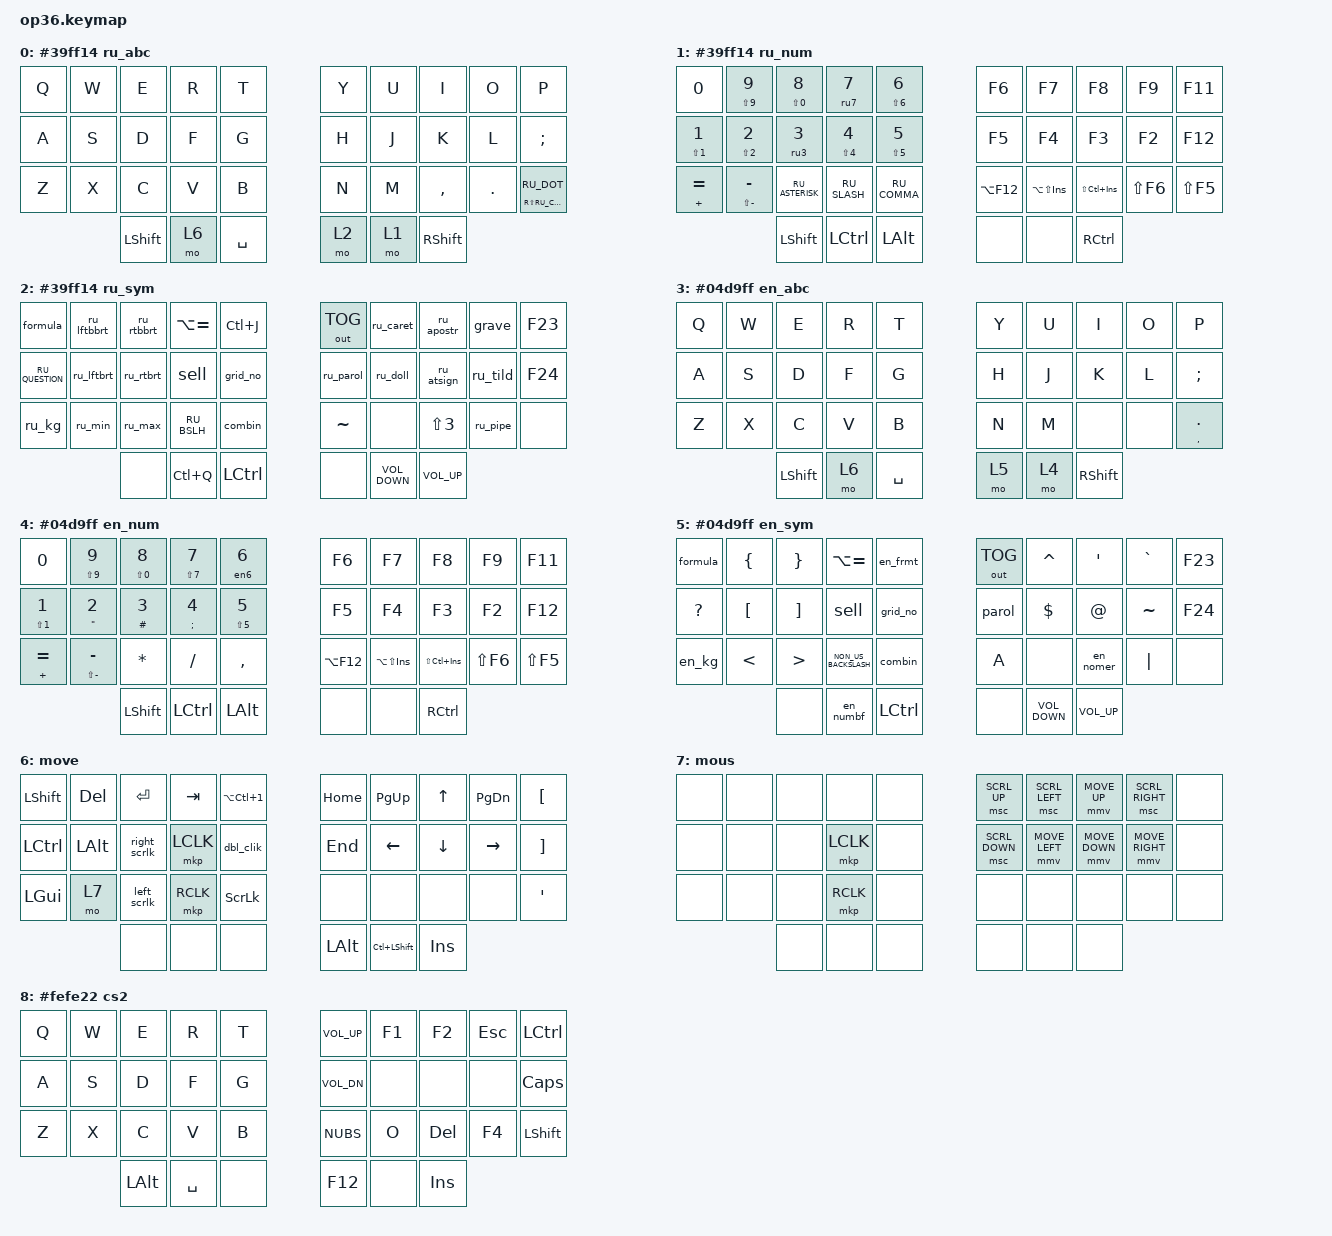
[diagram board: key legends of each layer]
#include "keys_ru.h"
#include <behaviors.dtsi>
#include <dt-bindings/zmk/keys.h>
#include <dt-bindings/zmk/outputs.h>
#include <dt-bindings/zmk/pointing.h>

/ {
    combos {
        compatible = "zmk,combos";

        ruen {
            bindings = <&ru_en>;
            key-positions = <31 34>;
            layers = <0>;
        };

        enru {
            bindings = <&en_ru>;
            key-positions = <34 31>;
            layers = <3>;
        };

        esc {
            bindings = <&kp ESC>;
            key-positions = <12 13>;
            layers = <0 3>;
        };

        alt {
            bindings = <&kp LALT>;
            key-positions = <22 23>;
            layers = <0 3>;
        };

        ctr {
            bindings = <&kp LCTRL>;
            key-positions = <11 13>;
            layers = <0 3>;
        };

        bcs {
            bindings = <&kp BSPC>;
            key-positions = <16 17>;
            layers = <0 3>;
        };

        copy {
            bindings = <&kp LC(C)>;
            key-positions = <2 3>;
            layers = <0 3>;
        };

        paste {
            bindings = <&kp LC(V)>;
            key-positions = <1 3>;
            layers = <0 3>;
        };

        cut {
            bindings = <&kp LC(X)>;
            key-positions = <0 3>;
            layers = <0 3>;
        };

        f1 {
            bindings = <&kp F1>;
            key-positions = <18 19>;
            layers = <1 4>;
        };

        val_fmt {
            bindings = <&val_frm>;
            key-positions = <3 4>;
            layers = <0 3>;
        };

        win {
            bindings = <&kp LEFT_WIN>;
            key-positions = <25 26>;
            layers = <0 3>;
        };

        to_cs {
            bindings = <&tog 8>;
            key-positions = <5 6>;
            layers = <0 3 8>;
        };

        esc_right {
            bindings = <&kp RCTRL>;
            key-positions = <16 18>;
            layers = <0 3>;
        };

        capsl {
            bindings = <&kp CLCK>;
            key-positions = <30 35>;
            layers = <0 3>;
        };
    };

    macros {
        ru_en: ru_en {
            compatible = "zmk,behavior-macro";
            #binding-cells = <0>;
            bindings = <&kp LS(LALT) &to 3>;
            label = "RU_EN";
        };

        en_ru: en_ru {
            compatible = "zmk,behavior-macro";
            #binding-cells = <0>;
            bindings = <&kp LS(LALT) &to 0>;
            label = "EN_RU";
        };

        ru7: ru7 {
            compatible = "zmk,behavior-macro";
            #binding-cells = <0>;
            bindings = <&kp LS(LALT) &kp LS(N7) &kp LS(LALT)>;
            label = "RU7";
        };

        ru3: ru3 {
            compatible = "zmk,behavior-macro";
            #binding-cells = <0>;
            bindings = <&kp LS(LALT) &kp LS(N3) &kp LS(LALT)>;
            label = "RU3";
        };

        en6: en6 {
            compatible = "zmk,behavior-macro";
            #binding-cells = <0>;
            bindings = <&kp LS(LALT) &kp LS(NUMBER_6) &kp LS(LALT)>;
            label = "EN6";
        };

        format: format {
            compatible = "zmk,behavior-macro";
            #binding-cells = <0>;
            bindings = <&kp LALT &kp Z &kp V &kp A &kp A &kp A &kp ENTER>;
            label = "FORMAT";
        };

        value: value {
            compatible = "zmk,behavior-macro";
            #binding-cells = <0>;
            bindings = <&kp LALT &kp Z &kp V &kp P &kp P &kp ENTER>;
            label = "VALUE";
        };

        formula: formula {
            compatible = "zmk,behavior-macro";
            #binding-cells = <0>;
            bindings = <&kp LALT &kp Z &kp V &kp A &kp A &kp ENTER>;
            label = "FORMULA";
        };

        dbl_clik: dbl_clik {
            compatible = "zmk,behavior-macro";
            #binding-cells = <0>;
            bindings = <&mkp LCLK &mkp LCLK>;
            label = "DBL_CLIK";
        };

        comb: comb {
            compatible = "zmk,behavior-macro";
            #binding-cells = <0>;
            bindings = <&kp LALT &kp Z &kp O &kp COMMA>;
            label = "COMB";
        };

        dis_cmb: dis_cmb {
            compatible = "zmk,behavior-macro";
            #binding-cells = <0>;
            bindings = <&kp LALT &kp Z &kp O &kp J>;
            label = "DIS_CMB";
        };

        grid: grid {
            compatible = "zmk,behavior-macro";
            #binding-cells = <0>;
            bindings = <&kp LALT &kp Z &kp U &kp U &kp C>;
            label = "GRID";
        };

        no_grid: no_grid {
            compatible = "zmk,behavior-macro";
            #binding-cells = <0>;
            bindings = <&kp LALT &kp Z &kp U &kp U &kp F>;
            label = "NO_GRID";
        };

        en_frmt: en_frmt {
            compatible = "zmk,behavior-macro";
            #binding-cells = <0>;
            bindings = <&kp LS(LALT) &kp LC(J) &kp LS(LALT)>;
            label = "EN_FRMT";
        };

        ru_min: ru_min {
            compatible = "zmk,behavior-macro";
            #binding-cells = <0>;
            bindings = <&kp LS(LALT) &kp LESS_THAN &kp LS(LALT)>;
            label = "RU_MIN";
        };

        ru_max: ru_max {
            compatible = "zmk,behavior-macro";
            #binding-cells = <0>;
            bindings = <&kp LS(LALT) &kp GREATER_THAN &kp LS(LALT)>;
            label = "RU_MAX";
        };

        ru_lftbrt: ru_lftbrt {
            compatible = "zmk,behavior-macro";
            #binding-cells = <0>;
            bindings = <&kp LS(LALT) &kp LEFT_BRACKET &kp LS(LALT)>;
            label = "RU_LFTBRT";
        };

        ru_rtbrt: ru_rtbrt {
            compatible = "zmk,behavior-macro";
            #binding-cells = <0>;
            bindings = <&kp LS(LALT) &kp RIGHT_BRACKET &kp LS(LALT)>;
            label = "RU_RTBRT";
        };

        ru_lftbbrt: ru_lftbbrt {
            compatible = "zmk,behavior-macro";
            #binding-cells = <0>;
            bindings = <&kp LS(LALT) &kp LEFT_BRACE &kp LS(LALT)>;
            label = "RU_LFTBBRT";
        };

        ru_rtbbrt: ru_rtbbrt {
            compatible = "zmk,behavior-macro";
            #binding-cells = <0>;
            bindings = <&kp LS(LALT) &kp RIGHT_BRACE &kp LS(LALT)>;
            label = "RU_RTBBRT";
        };

        ru_caret: ru_caret {
            compatible = "zmk,behavior-macro";
            #binding-cells = <0>;
            bindings = <&kp LS(LALT) &kp LCTRL &kp LS(LALT)>;
            label = "RU_CARET";
        };

        ru_apostr: ru_apostr {
            compatible = "zmk,behavior-macro";
            #binding-cells = <0>;
            bindings = <&kp LS(LALT) &kp SQT &kp LS(LALT)>;
            label = "RU_APOSTR";
        };

        grave: grave {
            compatible = "zmk,behavior-macro";
            #binding-cells = <0>;
            bindings = <&kp LS(LALT) &kp GRAVE &kp LS(LALT)>;
            label = "GRAVE";
        };

        ru_doll: ru_doll {
            compatible = "zmk,behavior-macro";
            #binding-cells = <0>;
            bindings = <&kp LS(LALT) &kp DOLLAR &kp LS(LALT)>;
            label = "RU_DOLL";
        };

        ru_atsign: ru_atsign {
            compatible = "zmk,behavior-macro";
            #binding-cells = <0>;
            bindings = <&kp LS(LALT) &kp AT_SIGN &kp LS(LALT)>;
            label = "RU_ATSIGN";
        };

        ru_tild: ru_tild {
            compatible = "zmk,behavior-macro";
            #binding-cells = <0>;
            bindings = <&kp LS(LALT) &kp TILDE &kp LS(LALT)>;
            label = "RU_TILD";
        };

        ru_pipe: ru_pipe {
            compatible = "zmk,behavior-macro";
            #binding-cells = <0>;
            bindings = <&kp LS(LALT) &kp PIPE &kp LS(LALT)>;
            label = "RU_PIPE";
        };

        en_numbf: en_numbf {
            compatible = "zmk,behavior-macro";
            #binding-cells = <0>;
            bindings = <&kp LS(LALT) &kp LC(Q) &kp LS(LALT)>;
            label = "EN_NUMBF";
        };

        en_kg1: en_kh1 {
            compatible = "zmk,behavior-macro";
            #binding-cells = <0>;
            bindings = <&kp LS(LALT) &kp LC(W) &kp LS(LALT)>;
            label = "EN_KH1";
        };

        en_kg2: en_kg2 {
            compatible = "zmk,behavior-macro";
            #binding-cells = <0>;
            bindings = <&kp LS(LALT) &kp LC(LS(W)) &kp LS(LALT)>;
            label = "EN_KG2";
        };

        en_nomer: en_nomer {
            compatible = "zmk,behavior-macro";
            #binding-cells = <0>;
            bindings = <&kp LS(LALT) &kp LS(NUMBER_3) &kp LS(LALT)>;
            label = "EN_NOMER";
        };

        parol: parol {
            compatible = "zmk,behavior-macro";
            #binding-cells = <0>;
            bindings = <&kp N1 &kp NUMBER_2 &kp NUMBER_3 &kp EXCL &kp AT_SIGN &kp HASH &kp LS(A) &kp LS(S) &kp LS(D) &kp A &kp S &kp D>;
            label = "PAROL";
        };

        ru_parol: ru_parol {
            compatible = "zmk,behavior-macro";
            #binding-cells = <0>;
            bindings = <&kp LS(LEFT_ALT) &kp N1 &kp NUMBER_2 &kp NUMBER_3 &kp EXCL &kp AT_SIGN &kp HASH &kp LS(A) &kp LS(S) &kp LS(D) &kp A &kp S &kp D &kp LS(LEFT_ALT)>;
            label = "RU_PAROL";
        };

        right_scrlk: right_scrlk {
            compatible = "zmk,behavior-macro";
            #binding-cells = <0>;
            bindings =
                <&kp SCROLLLOCK &sk RIGHT>,
                <&macro_pause_for_release>,
                <&kp SCROLLLOCK>;

            label = "RIGHT_SCRLK";
        };

        left_scrlk: left_scrlk {
            compatible = "zmk,behavior-macro";
            #binding-cells = <0>;
            bindings =
                <&kp SCROLLLOCK &sk LEFT>,
                <&macro_pause_for_release>,
                <&kp SCROLLLOCK>;

            label = "LEFT_SCRLK";
        };
    };

    behaviors {
        ru_7: ru_7 {
            compatible = "zmk,behavior-hold-tap";
            label = "RU_7";
            bindings = <&ru7>, <&kp>;

            #binding-cells = <2>;
            tapping-term-ms = <200>;
        };

        ru_3: ru_3 {
            compatible = "zmk,behavior-hold-tap";
            label = "RU_3";
            bindings = <&ru3>, <&kp>;

            #binding-cells = <2>;
            tapping-term-ms = <200>;
        };

        en_6: en_6 {
            compatible = "zmk,behavior-hold-tap";
            label = "EN_6";
            bindings = <&en6>, <&kp>;

            #binding-cells = <2>;
            tapping-term-ms = <200>;
        };

        val_frm: val_frm {
            compatible = "zmk,behavior-tap-dance";
            label = "VAL_FRM";
            #binding-cells = <0>;
            tapping-term-ms = <300>;
            bindings = <&value>, <&format>;
        };

        combin: combin {
            compatible = "zmk,behavior-tap-dance";
            label = "COMBIN";
            #binding-cells = <0>;
            tapping-term-ms = <300>;
            bindings = <&comb>, <&dis_cmb>;
        };

        grid_no: grid_no {
            compatible = "zmk,behavior-tap-dance";
            label = "GRID_NO";
            #binding-cells = <0>;
            tapping-term-ms = <300>;
            bindings = <&grid>, <&no_grid>;
        };

        sell: sell {
            compatible = "zmk,behavior-tap-dance";
            label = "SELL";
            #binding-cells = <0>;
            tapping-term-ms = <300>;
            bindings = <&kp LC(PLUS)>, <&kp LC(MINUS)>;
        };

        ru_kg: ru_kg {
            compatible = "zmk,behavior-tap-dance";
            label = "RU_KG";
            #binding-cells = <0>;
            tapping-term-ms = <300>;
            bindings = <&kp LC(W)>, <&kp LC(LS(W))>;
        };

        en_kg: en_kg {
            compatible = "zmk,behavior-tap-dance";
            label = "EN_KG";
            #binding-cells = <0>;
            tapping-term-ms = <300>;
            bindings = <&en_kg1>, <&en_kg2>;
        };
    };

    keymap {
        compatible = "zmk,keymap";

        ru_abc {
            bindings = <
  &kp Q  &kp W  &kp E  &kp R      &kp T                      &kp Y  &kp U      &kp I      &kp O    &kp P
  &kp A  &kp S  &kp D  &kp F      &kp G                      &kp H  &kp J      &kp K      &kp L    &kp SEMI
  &kp Z  &kp X  &kp C  &kp V      &kp B                      &kp N  &kp M      &kp COMMA  &kp DOT  &mt RS(RU_COMMA) RU_DOT
                       &kp LSHFT  &mo 6  &kp SPACE    &mo 2  &mo 1  &kp RSHFT
            >;

            display-name = "#39ff14 ru_abc";
        };

        ru_num {
            bindings = <
  &kp N0                     &mt LS(N9) N9              &mt LS(NUMBER_0) N8  &ru_7 0 N7                 &mt LS(NUMBER_6) NUMBER_6                         &kp F6       &kp F7              &kp F8              &kp F9      &kp F11
  &mt LS(NUMBER_1) NUMBER_1  &mt LS(NUMBER_2) NUMBER_2  &ru_3 0 NUMBER_3     &mt LS(NUMBER_4) NUMBER_4  &mt LS(NUMBER_5) NUMBER_5                         &kp F5       &kp F4              &kp F3              &kp F2      &kp F12
  &mt PLUS EQUAL             &mt LS(MINUS) MINUS        &kp RU_ASTERISK      &kp RU_SLASH               &kp RU_COMMA                                      &kp LA(F12)  &kp LA(LS(INSERT))  &kp LS(LC(INSERT))  &kp LS(F6)  &kp LS(F5)
                                                                             &kp LSHFT                  &kp LCTRL                  &kp LEFT_ALT    &none  &none        &kp RCTRL
            >;

            display-name = "#39ff14 ru_num";
        };

        ru_sym {
            display-name = "#39ff14 ru_sym";
            bindings = <
  &formula         &ru_lftbbrt  &ru_rtbbrt  &kp LA(EQUAL)  &kp LC(J)                      &out OUT_TOG       &ru_caret        &ru_apostr        &grave    &kp F23
  &kp RU_QUESTION  &ru_lftbrt   &ru_rtbrt   &sell          &grid_no                       &ru_parol          &ru_doll         &ru_atsign        &ru_tild  &kp F24
  &ru_kg           &ru_min      &ru_max     &kp RU_BSLH    &combin                        &kp TILDE          &none            &kp LS(NUMBER_3)  &ru_pipe  &none
                                            &none          &kp LC(Q)  &kp LCTRL    &none  &kp C_VOLUME_DOWN  &kp C_VOLUME_UP
            >;
        };

        en_abc {
            display-name = "#04d9ff en_abc";
            bindings = <
  &kp Q  &kp W  &kp E  &kp R      &kp T                      &kp Y  &kp U      &kp I  &kp O  &kp P
  &kp A  &kp S  &kp D  &kp F      &kp G                      &kp H  &kp J      &kp K  &kp L  &kp SEMI
  &kp Z  &kp X  &kp C  &kp V      &kp B                      &kp N  &kp M      &none  &none  &mt COMMA DOT
                       &kp LSHFT  &mo 6  &kp SPACE    &mo 5  &mo 4  &kp RSHFT
            >;
        };

        en_num {
            display-name = "#04d9ff en_num";
            bindings = <
  &kp N0                     &mt LS(N9) N9        &mt LS(NUMBER_0) N8  &mt LS(NUMBER_7) NUMBER_7  &en_6 0 NUMBER_6                                  &kp F6       &kp F7              &kp F8              &kp F9      &kp F11
  &mt LS(NUMBER_1) NUMBER_1  &mt DQT NUMBER_2     &mt HASH NUMBER_3    &mt SEMI NUMBER_4          &mt LS(NUMBER_5) NUMBER_5                         &kp F5       &kp F4              &kp F3              &kp F2      &kp F12
  &mt PLUS EQUAL             &mt LS(MINUS) MINUS  &kp ASTRK            &kp FSLH                   &kp COMMA                                         &kp LA(F12)  &kp LA(LS(INSERT))  &kp LS(LC(INSERT))  &kp LS(F6)  &kp LS(F5)
                                                                       &kp LSHFT                  &kp LCTRL                  &kp LEFT_ALT    &none  &none        &kp RCTRL
            >;
        };

        en_sym {
            display-name = "#04d9ff en_sym";
            bindings = <
  &formula   &kp LEFT_BRACE    &kp RIGHT_BRACE    &kp LA(EQUAL)         &en_frmt                       &out OUT_TOG       &kp CARET        &kp SINGLE_QUOTE  &kp GRAVE  &kp F23
  &kp QMARK  &kp LEFT_BRACKET  &kp RIGHT_BRACKET  &sell                 &grid_no                       &parol             &kp DOLLAR       &kp AT_SIGN       &kp TILDE  &kp F24
  &en_kg     &kp LESS_THAN     &kp GREATER_THAN   &kp NON_US_BACKSLASH  &combin                        &kp A              &none            &en_nomer         &kp PIPE   &none
                                                  &none                 &en_numbf  &kp LCTRL    &none  &kp C_VOLUME_DOWN  &kp C_VOLUME_UP
            >;
        };

        move {
            bindings = <
  &kp LSHFT  &kp DELETE    &kp ENTER     &kp TAB    &kp LA(LC(N1))                     &kp HOME        &kp PG_UP  &kp UP_ARROW    &kp PAGE_DOWN  &kp LEFT_BRACKET
  &kp LCTRL  &kp LEFT_ALT  &right_scrlk  &mkp LCLK  &dbl_clik                          &kp END         &kp LEFT   &kp DOWN_ARROW  &kp RIGHT      &kp RIGHT_BRACKET
  &kp LGUI   &mo 7         &left_scrlk   &mkp RCLK  &kp SCROLLLOCK                     &none           &none      &none           &none          &kp SQT
                                         &none      &none           &none    &kp LALT  &kp LC(LSHIFT)  &kp INS
            >;

            display-name = "move";
        };

        mous {
            display-name = "mous";
            bindings = <
  &none  &none  &none  &none      &none                  &msc SCRL_UP    &msc SCRL_LEFT  &mmv MOVE_UP    &msc SCRL_RIGHT  &none
  &none  &none  &none  &mkp LCLK  &none                  &msc SCRL_DOWN  &mmv MOVE_LEFT  &mmv MOVE_DOWN  &mmv MOVE_RIGHT  &none
  &none  &none  &none  &mkp RCLK  &none                  &none           &none           &none           &none            &none
                       &none      &none  &none    &none  &none           &none
            >;
        };

        cs2 {
            display-name = "#fefe22 cs2";
            bindings = <
  &kp Q  &kp W  &kp E  &kp R         &kp T                        &kp C_VOL_UP  &kp F1   &kp F2      &kp ESC  &kp LEFT_CONTROL
  &kp A  &kp S  &kp D  &kp F         &kp G                        &kp C_VOL_DN  &none    &none       &none    &kp CLCK
  &kp Z  &kp X  &kp C  &kp V         &kp B                        &kp NUBS      &kp O    &kp DELETE  &kp F4   &kp LSHFT
                       &kp LEFT_ALT  &kp SPACE  &none    &kp F12  &none         &kp INS
            >;
        };
    };
};
